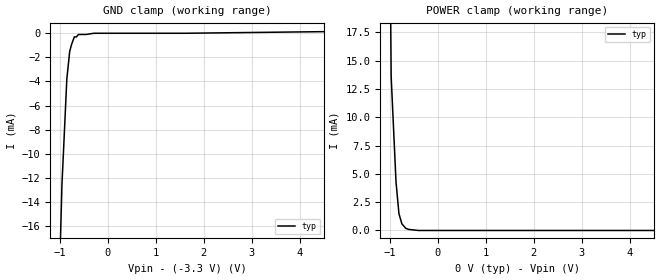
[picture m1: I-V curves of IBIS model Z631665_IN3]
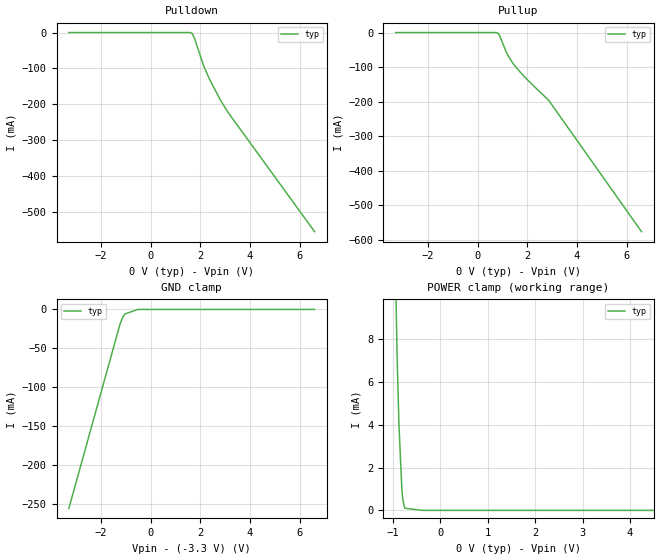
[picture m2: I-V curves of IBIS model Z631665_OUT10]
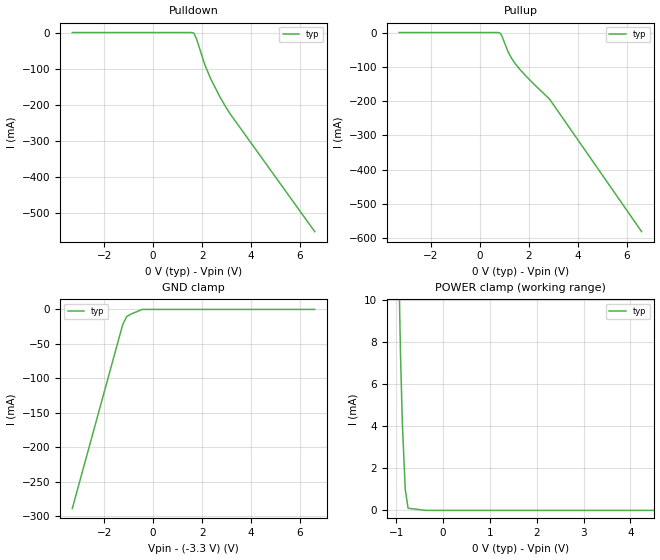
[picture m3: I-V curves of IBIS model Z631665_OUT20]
| YOU ARE ONLY AUTHORIZED TO USE THIS SOFTWARE
| ACCORDING TO LICENSOR'S LICENSE RESTRICTIONS.
[IBIS Ver] 3.1
[File Name] mc100lve210fn_-33.ibs
[File Rev] 2.0
[Source] Measured and created by ICX Technology
[Date] Wednesday 11/22/00 2:13:51 PM
[Copyright]
| (C) COPYRIGHT 1993-2000
| MENTOR GRAPHICS CORPORATION
| ICX STANDARD LIBRARY, ICX PROJECT MODELING,
| ICX CUSTOM MODELING, ICX VENDOR MODEL
| ALL RIGHTS RESERVED.
| THE FOLLOWING ARE TRADEMARKS OR SERVICE MARKS OF
| MENTOR GRAPHICS CORPORATION:ICX (R), ICX STANDARD
| LIBRARY(R), ICX PROJECT MODELING(R), ICX CUSTOM
| MODELING(R), qualityIBIS(TM), MODELVIEWER(TM),
| AND MODELEDITOR(TM)
| ALL COPIES OF SOFTWARE, INCLUDING BUT NOT LIMITED TO
| ANY MODIFICATIONS, ENHANCEMENTS OR DERIVATIVE WORKS,
| MUST CONTAIN ALL MENTOR GRAPHICS CORPORATION'S
| NOTICES AND LEGENDS, INCLUDING THOSE EMBEDDED IN
| SOFTWARE AND THOSE AFFIXED TO SOFTWARE MEDIUM
| AND CONTAINER, AS RECEIVED FROM MENTOR GRAPHICS
| CORPORATION.
|  ZAP Model Builder 2.8
[Component] MC100LVE210FN_-33
[Manufacturer] OnSemiconductor
[Package]
| variable   typ   min   max
R_pkg  .083ohms NA NA
L_pkg  4.299nH NA NA
C_pkg  1.045pF NA NA
[Pin] signal_name  model_name  R_pin  L_pin C_pin
1 VCC POWER .08 3.94n .925p
2 _CLKA Z631665_IN3 .082 4.14n .995p
3 CLKB Z631665_IN3 .084 4.354n 1.065p
4 _CLKB Z631665_IN3 .086 4.583n 1.135p
5 _QB4 Z631665_OUT10 .086 4.583n 1.135p
6 QB4 Z631665_OUT10 .084 4.354n 1.065p
7 _QB3 Z631665_OUT10 .082 4.14n .995p
8 VCCO POWER .08 3.94n .925p
9 QB3 Z631665_OUT10 .082 4.14n .995p
10 _QB2 Z631665_OUT10 .084 4.354n 1.065p
11 QB2 Z631665_OUT10 .086 4.583n 1.135p
12 _QB1 Z631665_OUT10 .086 4.583n 1.135p
13 QB1 Z631665_OUT10 .084 4.354n 1.065p
14 _QB0 Z631665_OUT10 .082 4.14n .995p
15 VCCO POWER .08 3.94n .925p
16 QB0 Z631665_OUT10 .082 4.14n .995p
17 _QA3 Z631665_OUT20 .084 4.354n 1.065p
18 QA3 Z631665_OUT20 .086 4.583n 1.135p
19 _QA2 Z631665_OUT20 .086 4.583n 1.135p
20 QA2 Z631665_OUT20 .084 4.354n 1.065p
21 _QA1 Z631665_OUT20 .082 4.14n .995p
22 VCCO POWER .08 3.94n .925p
23 QA1 Z631665_OUT20 .082 4.14n .995p
24 _QA0 Z631665_OUT20 .084 4.354n 1.065p
25 QA0 Z631665_OUT20 .086 4.583n 1.135p
26 VEE POWER .086 4.583n 1.135p
27 VBB POWER .084 4.354n 1.065p
28 CLKA Z631665_IN3 .082 4.14n .995p
[Diff Pin] inv_pin vdiff tdelay_typ tdelay_min tdelay_max
11 10 NA .05ns NA .075ns
13 12 NA .05ns NA .075ns
16 14 NA .05ns NA .075ns
18 17 NA .05ns NA .075ns
20 19 NA .05ns NA .075ns
23 21 NA .05ns NA .075ns
25 24 NA .05ns NA .075ns
28 2 500mv NA NA NA
3 4 500mv NA NA NA
6 5 NA .05ns NA .075ns
9 7 NA .05ns NA .075ns
| Models and submodels in the file (3): Z631665_IN3 (Input_ECL), Z631665_OUT10 (Output_ECL), Z631665_OUT20 (Output_ECL)
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| (C) COPYRIGHT 1993-2000
| MENTOR GRAPHICS CORPORATION
| ICX STANDARD LIBRARY, ICX PROJECT MODELING,
| ICX CUSTOM MODELING, ICX VENDOR MODEL
| ALL RIGHTS RESERVED.
| THE FOLLOWING ARE TRADEMARKS OR SERVICE MARKS OF
| MENTOR GRAPHICS CORPORATION:ICX (R), ICX STANDARD
| LIBRARY(R), ICX PROJECT MODELING(R), ICX CUSTOM
| MODELING(R), qualityIBIS(TM), MODELVIEWER(TM),
| AND MODELEDITOR(TM)
| ALL COPIES OF SOFTWARE, INCLUDING BUT NOT LIMITED TO
| ANY MODIFICATIONS, ENHANCEMENTS OR DERIVATIVE WORKS,
| MUST CONTAIN ALL MENTOR GRAPHICS CORPORATION'S
| NOTICES AND LEGENDS, INCLUDING THOSE EMBEDDED IN
| SOFTWARE AND THOSE AFFIXED TO SOFTWARE MEDIUM
| AND CONTAINER, AS RECEIVED FROM MENTOR GRAPHICS
| CORPORATION.
| Model Application Version 1.89 2/18/99.
[Model] Z631665_IN3
Model_type Input_ECL
Vinl = -1.475V
Vinh = -1.165V
C_comp 3.000pF NA NA
| variable typ   min   max
[Voltage Range] -3.300V NA NA
[GND Clamp Reference] -3.300V NA NA
[POWER Clamp Reference] 0.000V NA NA
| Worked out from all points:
|   GND clamp passes 1 mA (typ) near -0.76 V on its own axis
|   POWER clamp passes 1 mA (typ) near -0.78 V on its own axis
[GND Clamp]
-3.3V     -455.3mA   NA         NA
-1.058V   -27.4mA    NA         NA
-957mV    -12.6mA    NA         NA
-855mV    -3.8mA     NA         NA
-795mV    -1.5mA     NA         NA
-754mV    -900uA     NA         NA
-698.2mV  -300uA     NA         NA
-655.1mV  -300uA     NA         NA
-612mV    -100uA     NA         NA
-290.8mV  0A         NA         NA
1.607V    0A         NA         NA
6.6V      231.3uA    NA         NA
[POWER Clamp]
-3.3V     1.02A      NA         NA
-1.074V   65.97mA    NA         NA
-973mV    13.58mA    NA         NA
-872mV    4.281mA    NA         NA
-811mV    1.484mA    NA         NA
-750mV    586.8uA    NA         NA
-669mV    190.6uA    NA         NA
-608mV    93.42uA    NA         NA
-405.3mV  0A         NA         NA
6.6V      0A         NA         NA
| (C) COPYRIGHT 1993-2000
| MENTOR GRAPHICS CORPORATION
| ICX STANDARD LIBRARY, ICX PROJECT MODELING,
| ICX CUSTOM MODELING, ICX VENDOR MODEL
| ALL RIGHTS RESERVED.
| THE FOLLOWING ARE TRADEMARKS OR SERVICE MARKS OF
| MENTOR GRAPHICS CORPORATION:ICX (R), ICX STANDARD
| LIBRARY(R), ICX PROJECT MODELING(R), ICX CUSTOM
| MODELING(R), qualityIBIS(TM), MODELVIEWER(TM),
| AND MODELEDITOR(TM)
| ALL COPIES OF SOFTWARE, INCLUDING BUT NOT LIMITED TO
| ANY MODIFICATIONS, ENHANCEMENTS OR DERIVATIVE WORKS,
| MUST CONTAIN ALL MENTOR GRAPHICS CORPORATION'S
| NOTICES AND LEGENDS, INCLUDING THOSE EMBEDDED IN
| SOFTWARE AND THOSE AFFIXED TO SOFTWARE MEDIUM
| AND CONTAINER, AS RECEIVED FROM MENTOR GRAPHICS
| CORPORATION.
| Model Application Version 1.89 2/18/99.
[Model] Z631665_OUT10
Model_type Output_ECL
Vref=-2.000V
Rref=50.00ohms
Cref=0.000F
Vmeas=-1.320V
C_comp 8.000pF NA NA
| variable typ   min   max
[Voltage Range] -3.300V NA NA
[POWER Clamp Reference] 0.000V NA NA
[Pullup Reference] 0.000V NA NA
[Pulldown Reference] 0.000V NA NA
[GND Clamp Reference] -3.300V NA NA
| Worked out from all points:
|   POWER clamp passes 1 mA (typ) near -0.81 V on its own axis
[GND Clamp]
-3.3V     -255.5mA   NA         NA
-1.241V   -19.28mA   NA         NA
-1.119V   -9.443mA   NA         NA
-1.038V   -5.884mA   NA         NA
-519mV    0A         NA         NA
6.6V      0A         NA         NA
[Pulldown]
-3.3V     0A         NA         NA
1.54V     0A         NA         NA
1.581V    -100uA     NA         NA
1.622V    -600uA     NA         NA
1.683V    -4mA       NA         NA
1.784V    -20.3mA    NA         NA
2.128V    -92.5mA    NA         NA
2.371V    -131mA     NA         NA
2.817V    -189.8mA   NA         NA
3.101V    -221.8mA   NA         NA
6.6V      -556.2mA   NA         NA
[Pullup]
-3.3V     0A         NA         NA
709mV     0A         NA         NA
831mV     -2.6mA     NA         NA
892mV     -9.6mA     NA         NA
1.155V    -57.1mA    NA         NA
1.297V    -75.6mA    NA         NA
1.459V    -92.8mA    NA         NA
1.966V    -133.9mA   NA         NA
2.858V    -195.8mA   NA         NA
6.6V      -576.9mA   NA         NA
[POWER Clamp]
-3.3V     601.2mA    NA         NA
-1.095V   33.6mA     NA         NA
-1.034V   21.8mA     NA         NA
-912mV    7.3mA      NA         NA
-872mV    4mA        NA         NA
-811mV    1mA        NA         NA
-791mV    500uA      NA         NA
-750mV    100uA      NA         NA
-375mV    0A         NA         NA
6.6V      0A         NA         NA
[Ramp]
| variable typ min max
dV/dt_r 444.8m/204.6p NA NA
dV/dt_f 444.8m/185.2p NA NA
R_load = 50.00Ohms
| (C) COPYRIGHT 1993-2000
| MENTOR GRAPHICS CORPORATION
| ICX STANDARD LIBRARY, ICX PROJECT MODELING,
| ICX CUSTOM MODELING, ICX VENDOR MODEL
| ALL RIGHTS RESERVED.
| THE FOLLOWING ARE TRADEMARKS OR SERVICE MARKS OF
| MENTOR GRAPHICS CORPORATION:ICX (R), ICX STANDARD
| LIBRARY(R), ICX PROJECT MODELING(R), ICX CUSTOM
| MODELING(R), qualityIBIS(TM), MODELVIEWER(TM),
| AND MODELEDITOR(TM)
| ALL COPIES OF SOFTWARE, INCLUDING BUT NOT LIMITED TO
| ANY MODIFICATIONS, ENHANCEMENTS OR DERIVATIVE WORKS,
| MUST CONTAIN ALL MENTOR GRAPHICS CORPORATION'S
| NOTICES AND LEGENDS, INCLUDING THOSE EMBEDDED IN
| SOFTWARE AND THOSE AFFIXED TO SOFTWARE MEDIUM
| AND CONTAINER, AS RECEIVED FROM MENTOR GRAPHICS
| CORPORATION.
| Model Application Version 1.89 2/18/99.
[Model] Z631665_OUT20
Model_type Output_ECL
Vref=-2.000V
Rref=50.00ohms
Cref=0.000F
Vmeas=-1.320V
C_comp 8.000pF NA NA
| variable typ   min   max
[Voltage Range] -3.300V NA NA
[POWER Clamp Reference] 0.000V NA NA
[Pullup Reference] 0.000V NA NA
[Pulldown Reference] 0.000V NA NA
[GND Clamp Reference] -3.300V NA NA
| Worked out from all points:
|   POWER clamp passes 1 mA (typ) near -0.81 V on its own axis
[GND Clamp]
-3.3V     -289.1mA   NA         NA
-1.241V   -22.08mA   NA         NA
-1.078V   -10.41mA   NA         NA
-876mV    -6.332mA   NA         NA
-438mV    0A         NA         NA
6.6V      0A         NA         NA
[Pulldown]
-3.3V     0A         NA         NA
1.54V     0A         NA         NA
1.662V    -2.2mA     NA         NA
1.784V    -19.9mA    NA         NA
2.108V    -88.7mA    NA         NA
2.351V    -128.4mA   NA         NA
2.736V    -179.7mA   NA         NA
2.939V    -203.4mA   NA         NA
3.142V    -225.5mA   NA         NA
6.6V      -552.8mA   NA         NA
[Pullup]
-3.3V     0A         NA         NA
709mV     0A         NA         NA
831mV     -2.6mA     NA         NA
892mV     -9.6mA     NA         NA
1.155V    -57.5mA    NA         NA
1.297V    -75.9mA    NA         NA
1.439V    -90.8mA    NA         NA
1.905V    -128.9mA   NA         NA
2.838V    -193.7mA   NA         NA
6.6V      -580.2mA   NA         NA
[POWER Clamp]
-3.3V     527.9mA    NA         NA
-1.034V   21.5mA     NA         NA
-912mV    7.4mA      NA         NA
-872mV    4.1mA      NA         NA
-811mV    1mA        NA         NA
-750mV    100uA      NA         NA
-375mV    0A         NA         NA
6.6V      0A         NA         NA
[Ramp]
| variable typ min max
dV/dt_r 445.4m/186.6p NA NA
dV/dt_f 445.4m/176.0p NA NA
R_load = 50.00Ohms
